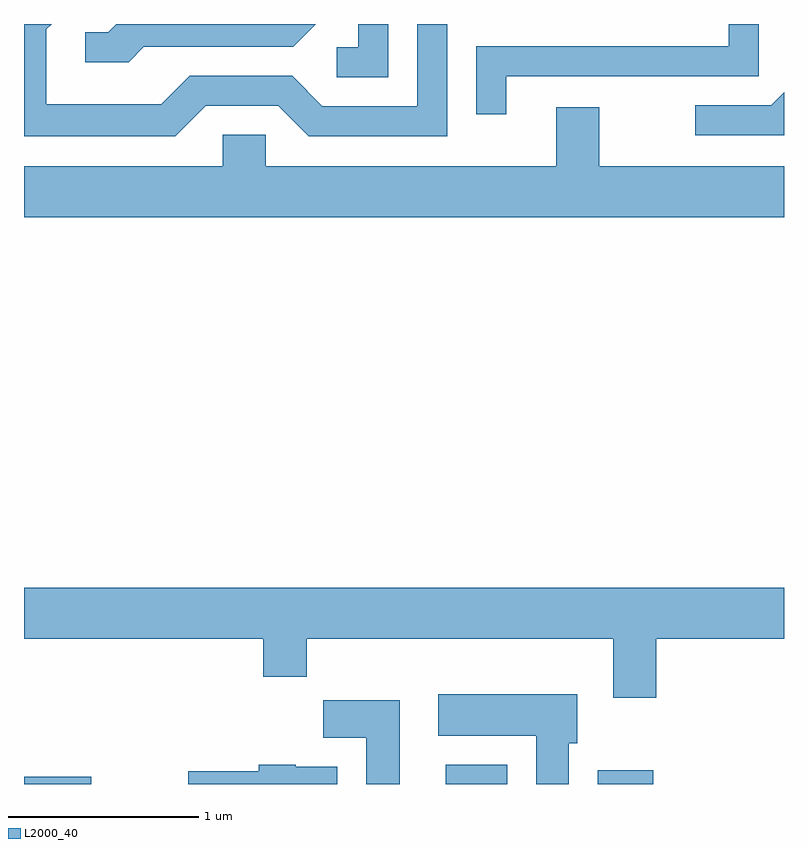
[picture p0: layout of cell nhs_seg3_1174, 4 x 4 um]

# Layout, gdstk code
import gdstk
lib = gdstk.Library(unit=1e-6, precision=1e-09)
def R(c, l, rs):  # rectangles x0, y0, x1, y1
    for r in rs: c.add(gdstk.rectangle(r[:2], r[2:], *l))
def P(c, l, *ps):  # polygons
    for p in ps: c.add(gdstk.Polygon(p, *l))
L2000_40 = (2000, 40)

nhs_seg3_1174 = lib.new_cell('nhs_seg3_1174')
R(nhs_seg3_1174, L2000_40, [(219.611,1151.892,219.964,1151.929), (221.831,1151.892,222.154,1151.994), (222.631,1151.892,222.924,1151.964)])
P(nhs_seg3_1174, L2000_40, [(222.149,1155.616),(223.479,1155.616),(223.479,1155.892),(223.321,1155.892),(223.321,1155.774),(221.991,1155.774),(221.991,1155.418),(222.149,1155.418)],
  [(220.567,1155.461),(220.949,1155.461),(221.109,1155.301),(221.839,1155.301),(221.839,1155.892),(221.681,1155.892),(221.681,1155.459),(221.182,1155.459),(221.022,1155.619),(220.484,1155.619),(220.334,1155.469),(219.729,1155.469),(219.729,1155.864),(219.757,1155.892),(219.611,1155.892),(219.611,1155.301),(220.407,1155.301)],
  [(221.529,1155.892),(221.371,1155.892),(221.371,1155.769),(221.258,1155.769),(221.258,1155.611),(221.529,1155.611)],
  [(220.242,1155.771),(221.027,1155.771),(221.147,1155.892),(220.097,1155.892),(220.054,1155.849),(219.933,1155.849),(219.933,1155.691),(220.162,1155.691)],
  [(223.611,1155.532),(223.544,1155.464),(223.143,1155.464),(223.143,1155.306),(223.611,1155.306)],
  [(223.611,1155.144),(222.639,1155.144),(222.639,1155.454),(222.411,1155.454),(222.411,1155.144),(220.884,1155.144),(220.884,1155.309),(220.656,1155.309),(220.656,1155.144),(219.611,1155.144),(219.611,1154.876),(223.611,1154.876)],
  [(222.939,1152.656),(223.611,1152.656),(223.611,1152.924),(219.611,1152.924),(219.611,1152.656),(220.871,1152.656),(220.871,1152.456),(221.099,1152.456),(221.099,1152.656),(222.711,1152.656),(222.711,1152.346),(222.939,1152.346)],
  [(222.479,1152.106),(222.524,1152.106),(222.524,1152.364),(221.791,1152.364),(221.791,1152.146),(222.306,1152.146),(222.306,1151.892),(222.479,1151.892)],
  [(221.589,1152.334),(221.186,1152.334),(221.186,1152.136),(221.411,1152.136),(221.411,1151.892),(221.589,1151.892)],
  [(221.259,1151.984),(221.04,1151.984),(221.04,1151.994),(220.846,1151.994),(220.846,1151.959),(220.476,1151.959),(220.476,1151.892),(221.259,1151.892)])

lib.write_gds('nhs_seg3_1174.gds')
